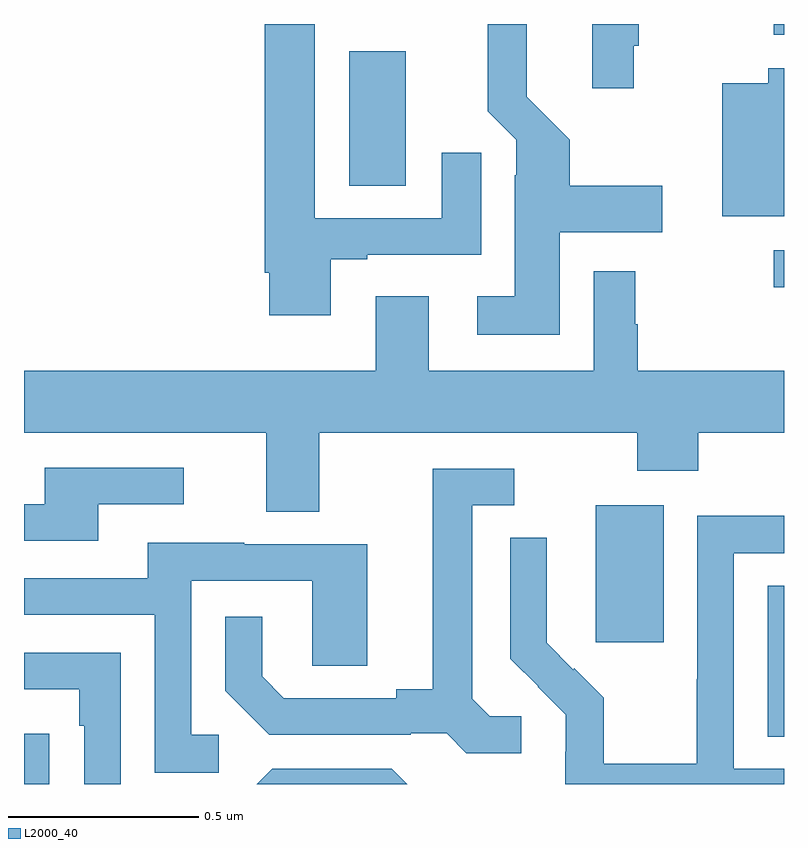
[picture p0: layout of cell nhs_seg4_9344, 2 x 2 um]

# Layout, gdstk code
import gdstk
lib = gdstk.Library(unit=1e-6, precision=1e-09)
def R(c, l, rs):  # rectangles x0, y0, x1, y1
    for r in rs: c.add(gdstk.rectangle(r[:2], r[2:], *l))
def P(c, l, *ps):  # polygons
    for p in ps: c.add(gdstk.Polygon(p, *l))
L2000_40 = (2000, 40)

nhs_seg4_9344 = lib.new_cell('nhs_seg4_9344')
R(nhs_seg4_9344, L2000_40, [(226,791.9,226.067,792.032), (227.957,792.025,228,792.422), (227.504,792.273,227.683,792.634), (227.973,793.207,228,793.305), (226.856,793.474,227.005,793.828), (227.973,793.872,228,793.9)])
P(nhs_seg4_9344, L2000_40, [(227.605,793.843),(227.618,793.843),(227.618,793.9),(227.495,793.9),(227.495,793.731),(227.605,793.731)],
  [(226.807,793.281),(226.903,793.281),(226.903,793.293),(227.203,793.293),(227.203,793.561),(227.099,793.561),(227.099,793.389),(226.765,793.389),(226.765,793.9),(226.634,793.9),(226.634,793.246),(226.646,793.246),(226.646,793.134),(226.807,793.134)],
  [(227.41,793.352),(227.68,793.352),(227.68,793.474),(227.436,793.474),(227.436,793.595),(227.323,793.708),(227.323,793.9),(227.221,793.9),(227.221,793.67),(227.295,793.596),(227.295,793.502),(227.291,793.502),(227.291,793.183),(227.193,793.183),(227.193,793.082),(227.41,793.082)],
  [(228,793.783),(227.959,793.783),(227.959,793.744),(227.837,793.744),(227.837,793.394),(228,793.394)],
  [(226.777,792.824),(227.614,792.824),(227.614,792.725),(227.774,792.725),(227.774,792.824),(228,792.824),(228,792.988),(227.615,792.988),(227.615,793.11),(227.608,793.11),(227.608,793.249),(227.499,793.249),(227.499,792.988),(227.065,792.988),(227.065,793.183),(226.925,793.183),(226.925,792.988),(226,792.988),(226,792.824),(226.637,792.824),(226.637,792.616),(226.777,792.616)],
  [(226.195,792.636),(226.42,792.636),(226.42,792.732),(226.055,792.732),(226.055,792.636),(226,792.636),(226,792.54),(226.195,792.54)],
  [(227.308,792.078),(227.226,792.078),(227.179,792.125),(227.179,792.633),(227.29,792.633),(227.29,792.729),(227.075,792.729),(227.075,792.149),(226.979,792.149),(226.979,792.126),(226.684,792.126),(226.627,792.183),(226.627,792.34),(226.53,792.34),(226.53,792.146),(226.646,792.03),(227.018,792.03),(227.018,792.033),(227.112,792.033),(227.164,791.981),(227.308,791.981)],
  [(228,791.94),(227.868,791.94),(227.868,792.507),(228,792.507),(228,792.606),(227.772,792.606),(227.772,792.176),(227.77,792.176),(227.77,791.953),(227.525,791.953),(227.525,792.127),(227.448,792.204),(227.445,792.201),(227.375,792.272),(227.375,792.394),(227.376,792.394),(227.376,792.548),(227.28,792.548),(227.28,792.23),(227.353,792.157),(227.352,792.156),(227.426,792.082),(227.426,791.985),(227.424,791.985),(227.424,791.9),(228,791.9)],
  [(226.513,792.03),(226.44,792.03),(226.44,792.435),(226.758,792.435),(226.758,792.211),(226.903,792.211),(226.903,792.531),(226.579,792.531),(226.579,792.535),(226.325,792.535),(226.325,792.441),(226,792.441),(226,792.345),(226.344,792.345),(226.344,791.929),(226.513,791.929)],
  [(226.254,792.246),(226,792.246),(226,792.15),(226.145,792.15),(226.145,792.053),(226.158,792.053),(226.158,791.9),(226.254,791.9)],
  [(226.968,791.94),(226.653,791.94),(226.613,791.9),(227.008,791.9)])

lib.write_gds('nhs_seg4_9344.gds')
